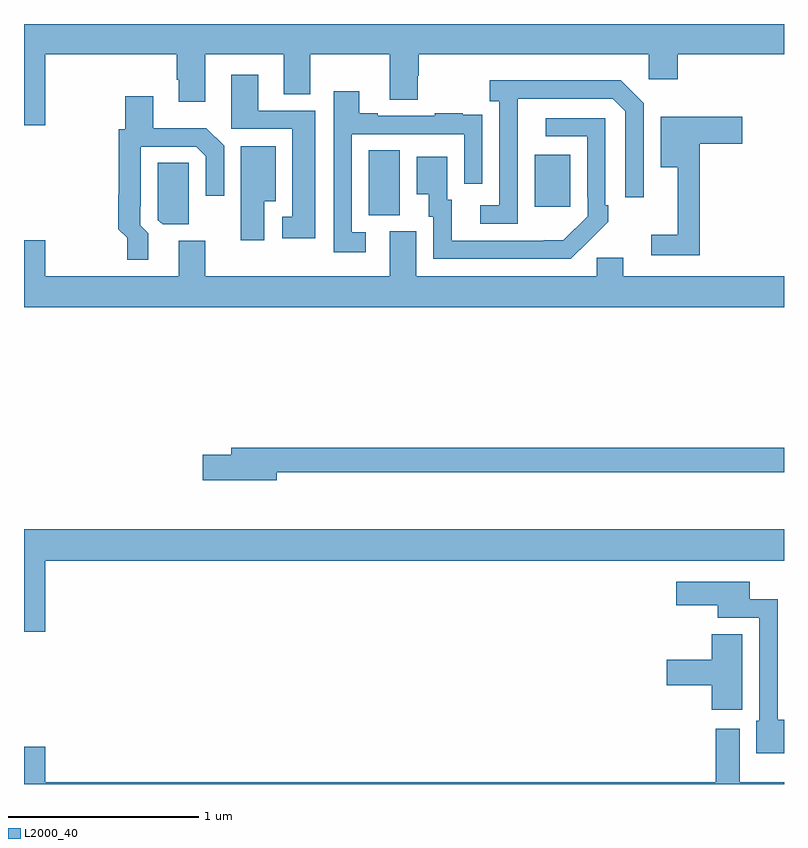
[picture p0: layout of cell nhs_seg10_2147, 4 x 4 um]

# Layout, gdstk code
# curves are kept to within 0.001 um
import gdstk
lib = gdstk.Library(unit=1e-6, precision=1e-09)
def R(c, l, rs):  # rectangles x0, y0, x1, y1
    for r in rs: c.add(gdstk.rectangle(r[:2], r[2:], *l))
def P(c, l, *ps):  # polygons
    for p in ps: c.add(gdstk.Polygon(p, *l))
L2000_40 = (2000, 40)

nhs_seg10_2147 = lib.new_cell('nhs_seg10_2147')
R(nhs_seg10_2147, L2000_40, [(226.814,1275.493,226.978,1275.836), (227.687,1275.537,227.875,1275.811)])
P(nhs_seg10_2147, L2000_40, [(225.112,1276.34),(225.803,1276.34),(225.803,1276.207),(225.815,1276.207),(225.815,1276.092),(225.955,1276.092),(225.955,1276.34),(226.367,1276.34),(226.367,1276.129),(226.507,1276.129),(226.507,1276.34),(226.925,1276.34),(226.925,1276.102),(227.073,1276.102),(227.073,1276.227),(227.078,1276.227),(227.078,1276.34),(228.288,1276.34),(228.288,1276.209),(228.44,1276.209),(228.44,1276.34),(229,1276.34),(229,1276.5),(225,1276.5),(225,1275.966),(225.112,1275.966)],
  [(226.534,1276.044),(226.234,1276.044),(226.234,1276.234),(226.091,1276.234),(226.091,1275.948),(226.412,1275.948),(226.412,1275.485),(226.359,1275.485),(226.359,1275.372),(226.534,1275.372)],
  [(227.598,1275.907),(227.599,1276.107),(228.099,1276.107),(228.165,1276.041),(228.165,1275.588),(228.261,1275.588),(228.261,1276.083),(228.14,1276.204),(227.451,1276.204),(227.451,1276.094),(227.502,1276.094),(227.502,1275.546),(227.4,1275.546),(227.4,1275.45),(227.598,1275.45)],
  [(226.798,1275.405),(226.725,1275.405),(226.725,1275.921),(227.316,1275.921),(227.316,1275.66),(227.412,1275.66),(227.412,1275.914),(227.411,1275.914),(227.411,1276.023),(227.309,1276.023),(227.309,1276.03),(227.161,1276.03),(227.161,1276.017),(226.861,1276.017),(226.861,1276.03),(226.765,1276.03),(226.765,1276.147),(226.629,1276.147),(226.629,1275.3),(226.798,1275.3)],
  [(225.655,1275.398),(225.612,1275.441),(225.612,1275.541),(225.615,1275.541),(225.615,1275.855),(225.906,1275.855),(225.957,1275.804),(225.957,1275.597),(226.053,1275.597),(226.053,1275.858),(225.959,1275.952),(225.679,1275.952),(225.679,1276.12),(225.532,1276.12),(225.532,1275.945),(225.499,1275.945),(225.499,1275.602),(225.497,1275.602),(225.497,1275.42),(225.543,1275.374),(225.543,1275.258),(225.655,1275.258)],
  [(228.557,1275.869),(228.781,1275.869),(228.781,1276.011),(228.35,1276.011),(228.35,1275.746),(228.44,1275.746),(228.44,1275.391),(228.3,1275.391),(228.3,1275.282),(228.557,1275.282)],
  [(227.969,1275.355),(227.97,1275.354),(228.075,1275.459),(228.075,1275.547),(228.06,1275.547),(228.06,1276.005),(227.745,1276.005),(227.745,1275.909),(227.964,1275.909),(227.964,1275.589),(227.967,1275.589),(227.967,1275.489),(227.839,1275.361),(227.251,1275.36),(227.251,1275.576),(227.227,1275.576),(227.227,1275.802),(227.066,1275.802),(227.066,1275.605),(227.129,1275.605),(227.129,1275.486),(227.154,1275.486),(227.154,1275.264),(227.878,1275.264)],
  [(226.264,1275.566),(226.324,1275.566),(226.324,1275.856),(226.142,1275.856),(226.142,1275.363),(226.264,1275.363)],
  [(225.868,1275.659),(225.867,1275.659),(225.867,1275.77),(225.705,1275.77),(225.705,1275.468),(225.729,1275.445),(225.868,1275.445)],
  [(229,1275.172),(228.154,1275.172),(228.154,1275.27),(228.015,1275.27),(228.015,1275.172),(227.065,1275.172),(227.065,1275.408),(226.925,1275.408),(226.925,1275.172),(225.955,1275.172),(225.955,1275.36),(225.815,1275.36),(225.815,1275.172),(225.112,1275.172),(225.112,1275.361),(225,1275.361),(225,1275.008),(229,1275.008)],
  [(226.33,1274.142),(229,1274.142),(229,1274.27),(226.091,1274.27),(226.091,1274.234),(225.942,1274.234),(225.942,1274.099),(226.33,1274.099)],
  [(225.112,1273.676),(229,1273.676),(229,1273.84),(225,1273.84),(225,1273.302),(225.112,1273.302)],
  [(229,1272.838),(228.966,1272.838),(228.966,1273.472),(228.82,1273.472),(228.82,1273.564),(228.432,1273.564),(228.432,1273.442),(228.65,1273.442),(228.65,1273.374),(228.87,1273.374),(228.87,1272.834),(228.854,1272.834),(228.854,1272.662),(229,1272.662)],
  [(228.781,1273.289),(228.62,1273.289),(228.62,1273.153),(228.384,1273.153),(228.384,1273.019),(228.62,1273.019),(228.62,1272.891),(228.781,1272.891)],
  [(229,1272.508),(228.766,1272.508),(228.766,1272.79),(228.641,1272.79),(228.641,1272.508),(225.112,1272.508),(225.112,1272.697),(225,1272.697),(225,1272.5),(229,1272.5)])

lib.write_gds('nhs_seg10_2147.gds')
